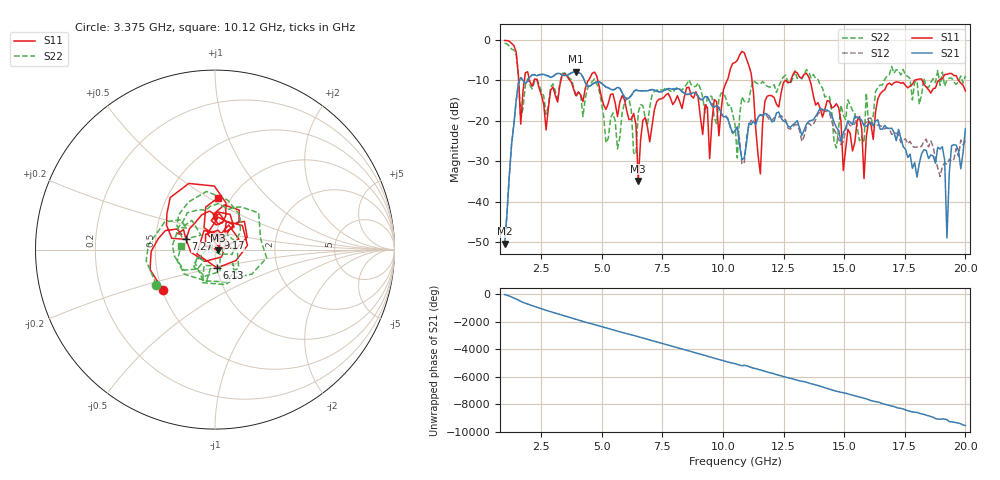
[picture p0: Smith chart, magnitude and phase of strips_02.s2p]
!Agilent Technologies,N5230A,MY45001629,A.07.50.67
!Agilent N5230A: A.07.50.67
!Date: Monday, June 05, 2017 16:31:48
!Correction: S11(Full 2 Port(1,2))
!S21(Full 2 Port(1,2))
!S12(Full 2 Port(1,2))
!S22(Full 2 Port(1,2))
!S2P File: Measurements: S11, S21, S12, S22:
# Hz S  dB  R 50
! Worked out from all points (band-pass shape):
!   201 points, 1 GHz to 20 GHz, reference 50 ohm
!   highest |S21| = -7.93 dB at 3.945 GHz (marker M1); lowest = -50.4 dB at 1 GHz (marker M2)
!   |S21| within 3 dB of the highest: 1.566 GHz to 4.357 GHz (2.791 GHz wide, 94.2 % of centre); 4.643 GHz to 5.029 GHz (386.1 MHz wide, 7.98 % of centre)
!   lowest |S11| = -34.9 dB at 6.51 GHz (marker M3), VSWR 1.04, Z = 51.8 - j0.357 ohm
!   |S11| at or under -10 dB: 4.838 GHz to 10.18 GHz (5.344 GHz wide, 71.2 % of centre); 11.2 GHz to 12.81 GHz (1.609 GHz wide, 13.4 % of centre); 13.58 GHz to 17.91 GHz (4.33 GHz wide, 27.5 % of centre)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
!   |S22| runs from -29.2 to -0.9 dB; largest |S21 - S12| = 0.034
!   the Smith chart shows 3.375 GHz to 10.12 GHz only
!   S11 on the Smith chart (normalised r, x): 3.375 GHz: 0.50, -0.26; 6.13 GHz: 1.00, -0.21; 7.27 GHz: 0.72, +0.08; 9.17 GHz: 1.02, +0.13; 10.12 GHz: 0.87, +0.55
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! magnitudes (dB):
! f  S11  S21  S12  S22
! 1 GHz  -0.2  -50.4  -51.0  -0.9
! 1.57 GHz  -9.0  -10.7  -10.7  -8.7
! 3.375 GHz  -8.7  -8.8  -8.8  -8.4
! 3.945 GHz  -13.8  -7.9  -7.9  -14.2
! 4.23 GHz  -15.3  -9.3  -9.2  -19.0
! 6.13 GHz  -19.8  -14.4  -14.4  -14.6
! 6.51 GHz  -34.9  -12.6  -12.7  -18.0
! 7.27 GHz  -15.4  -12.8  -12.7  -12.4
! 7.365 GHz  -14.7  -12.9  -12.9  -12.7
! 9.17 GHz  -23.4  -14.8  -14.8  -14.3
! 10.12 GHz  -10.8  -19.0  -18.8  -14.4
! 10.5 GHz  -5.7  -22.5  -22.6  -20.9
! 11.16 GHz  -8.3  -21.0  -19.9  -11.8
! 11.54 GHz  -33.2  -18.5  -18.6  -11.0
! 11.83 GHz  -14.0  -18.5  -18.9  -11.5
! 13.73 GHz  -13.9  -19.8  -21.0  -8.6
! 15.82 GHz  -34.3  -21.3  -21.0  -25.4
! 16.86 GHz  -10.8  -22.0  -22.0  -8.6
! 19.05 GHz  -9.6  -26.5  -31.4  -8.0
! 19.24 GHz  -8.6  -49.0  -30.8  -10.0
! 19.43 GHz  -8.4  -26.2  -30.0  -9.5
! 20 GHz  -12.7  -22.1  -24.9  -8.9
